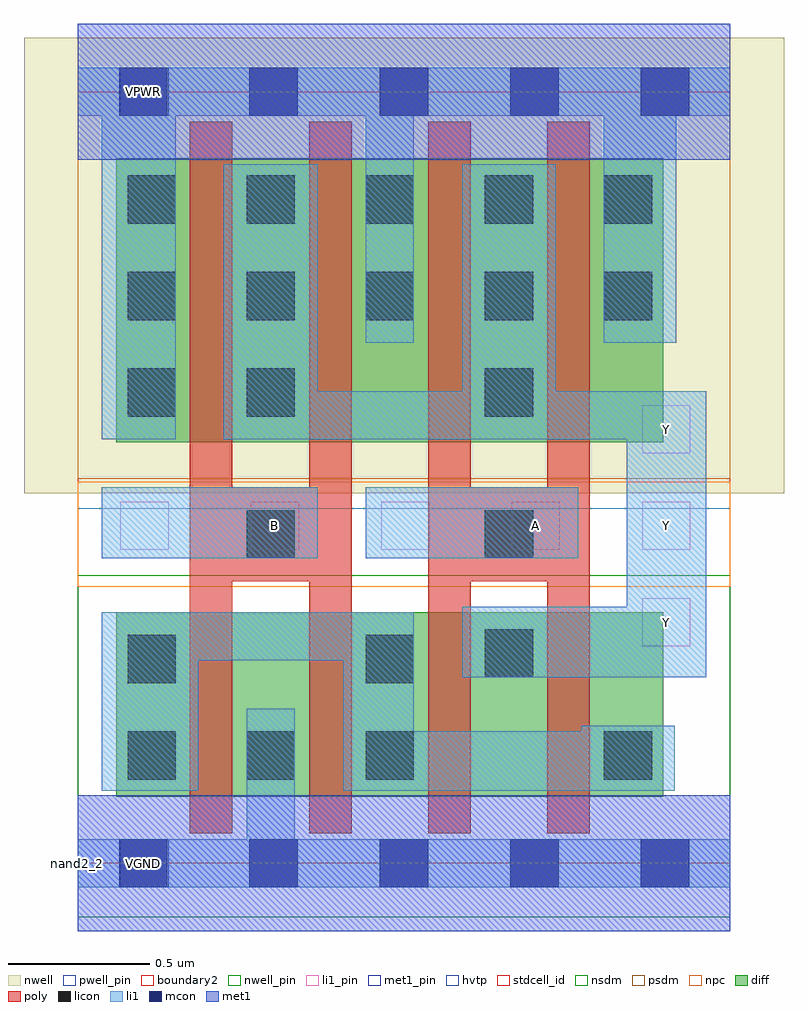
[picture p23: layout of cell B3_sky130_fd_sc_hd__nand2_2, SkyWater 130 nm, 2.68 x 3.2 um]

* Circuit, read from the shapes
.subckt B3_sky130_fd_sc_hd__nand2_2 A B VGND VNB VPB VPWR Y
XM1 VGND B n1 VNB sky130_fd_pr__nfet_01v8 w=0.65 l=0.15 m=2
XM2 Y A n1 VNB sky130_fd_pr__nfet_01v8 w=0.65 l=0.15 m=2
XM3 Y B VPWR VPB sky130_fd_pr__pfet_01v8_hvt w=1 l=0.15 m=2
XM4 Y A VPWR VPB sky130_fd_pr__pfet_01v8_hvt w=1 l=0.15 m=2
.ends

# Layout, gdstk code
import gdstk
lib = gdstk.Library(unit=1e-6, precision=1e-09)
def R(c, l, rs):  # rectangles x0, y0, x1, y1
    for r in rs: c.add(gdstk.rectangle(r[:2], r[2:], *l))
def A(c, l, x, y, w, h, nx, ny, dx, dy):  # array of equal rectangles
    R(c, l, [(x+i*dx, y+j*dy, x+i*dx+w, y+j*dy+h) for i in range(nx) for j in range(ny)])
def P(c, l, *ps):  # polygons
    for p in ps: c.add(gdstk.Polygon(p, *l))
nwell_pin = (64, 16)
nwell = (64, 20)
diff = (65, 20)
poly = (66, 20)
licon = (66, 44)
li1_pin = (67, 16)
li1 = (67, 20)
mcon = (67, 44)
met1_pin = (68, 16)
met1 = (68, 20)
hvtp = (78, 44)
stdcell_id = (81, 4)
nsdm = (93, 44)
psdm = (94, 20)
npc = (95, 20)
pwell_pin = (122, 16)
boundary2 = (236, 0)

b3_sky130_fd_sc_hd__nand = lib.new_cell('B3_sky130_fd_sc_hd__nand2_2')
R(b3_sky130_fd_sc_hd__nand, nwell_pin, [(0.15,2.635,0.32,2.805)])
R(b3_sky130_fd_sc_hd__nand, nwell, [(-0.19,1.305,2.49,2.91)])
R(b3_sky130_fd_sc_hd__nand, diff, [(0.135,0.235,2.065,0.885), (0.135,1.485,2.065,2.485)])
P(b3_sky130_fd_sc_hd__nand, poly, [(0.395,0.105),(0.395,2.615),(0.545,2.615),(0.545,1.325),(0.815,1.325),(0.815,2.615),(0.965,2.615),(0.965,0.105),(0.815,0.105),(0.815,0.995),(0.545,0.995),(0.545,0.105)],
  [(1.235,0.105),(1.235,2.615),(1.385,2.615),(1.385,1.325),(1.655,1.325),(1.655,2.615),(1.805,2.615),(1.805,0.105),(1.655,0.105),(1.655,0.995),(1.385,0.995),(1.385,0.105)])
A(b3_sky130_fd_sc_hd__nand, licon, 0.175, 0.295, 0.17, 0.17, 3, 1, 0.42, 0)
A(b3_sky130_fd_sc_hd__nand, licon, 0.175, 1.915, 0.17, 0.17, 5, 2, 0.42, 0.34)
R(b3_sky130_fd_sc_hd__nand, licon, [(1.855,0.295,2.025,0.465), (0.175,0.635,0.345,0.805), (1.015,0.635,1.185,0.805), (1.435,0.655,1.605,0.825), (0.595,1.075,0.765,1.245), (1.435,1.075,1.605,1.245), (0.175,1.575,0.345,1.745), (0.595,1.575,0.765,1.745), (1.435,1.575,1.605,1.745)])
A(b3_sky130_fd_sc_hd__nand, li1_pin, 0.15, 1.105, 0.17, 0.17, 5, 1, 0.46, 0)
R(b3_sky130_fd_sc_hd__nand, li1_pin, [(1.99,0.765,2.16,0.935), (1.99,1.445,2.16,1.615)])
R(b3_sky130_fd_sc_hd__nand, li1, [(0.085,1.075,0.845,1.325), (1.015,1.075,1.765,1.325)])
P(b3_sky130_fd_sc_hd__nand, li1, [(1.355,0.655),(1.355,0.905),(1.935,0.905),(1.935,1.495),(0.515,1.495),(0.515,2.465),(0.845,2.465),(0.845,1.665),(1.355,1.665),(1.355,2.465),(1.685,2.465),(1.685,1.665),(2.215,1.665),(2.215,0.655)],
  [(0.085,0.255),(0.085,0.885),(1.185,0.885),(1.185,0.465),(1.775,0.465),(1.775,0.485),(2.105,0.485),(2.105,0.255),(0.935,0.255),(0.935,0.715),(0.425,0.715),(0.425,0.255)],
  [(0.085,1.495),(0.085,2.635),(0,2.635),(0,2.805),(2.3,2.805),(2.3,2.635),(2.11,2.635),(2.11,1.835),(1.855,1.835),(1.855,2.635),(1.185,2.635),(1.185,1.835),(1.015,1.835),(1.015,2.635),(0.345,2.635),(0.345,1.495)],
  [(0,-0.085),(0,0.085),(0.595,0.085),(0.595,0.545),(0.765,0.545),(0.765,0.085),(2.3,0.085),(2.3,-0.085)])
A(b3_sky130_fd_sc_hd__nand, mcon, 0.145, -0.085, 0.17, 0.17, 5, 2, 0.46, 2.72)
R(b3_sky130_fd_sc_hd__nand, met1_pin, [(0.15,-0.085,0.32,0.085), (0.15,2.635,0.32,2.805)])
R(b3_sky130_fd_sc_hd__nand, hvtp, [(0,1.25,2.3,2.72)])
R(b3_sky130_fd_sc_hd__nand, stdcell_id, [(0,0,2.3,2.72)])
R(b3_sky130_fd_sc_hd__nand, nsdm, [(0,-0.19,2.3,1.015)])
R(b3_sky130_fd_sc_hd__nand, psdm, [(0,1.355,2.3,2.91)])
R(b3_sky130_fd_sc_hd__nand, npc, [(0,0.975,2.3,1.345)])
R(b3_sky130_fd_sc_hd__nand, pwell_pin, [(0.15,-0.085,0.32,0.085)])
R(b3_sky130_fd_sc_hd__nand, boundary2, [(0,0,2.3,2.72)])
b3_sky130_fd_sc_hd__nand.add(gdstk.FlexPath([(0,0),(2.3,0)], 0.48, ends="flush", simple_path=True, layer=68, datatype=20))  # met1
b3_sky130_fd_sc_hd__nand.add(gdstk.FlexPath([(0,2.72),(2.3,2.72)], 0.48, ends="flush", simple_path=True, layer=68, datatype=20))  # met1
b3_sky130_fd_sc_hd__nand.add(gdstk.Label('VPWR', (0.23,2.72), layer=68, texttype=5))
b3_sky130_fd_sc_hd__nand.add(gdstk.Label('VGND', (0.23,0), layer=68, texttype=5))
b3_sky130_fd_sc_hd__nand.add(gdstk.Label('VPB', (0.23,2.72), layer=64, texttype=5))
b3_sky130_fd_sc_hd__nand.add(gdstk.Label('VNB', (0.23,0), layer=64, texttype=59))
b3_sky130_fd_sc_hd__nand.add(gdstk.Label('nand2_2', (0,0), layer=83, texttype=44))
b3_sky130_fd_sc_hd__nand.add(gdstk.Label('A', (1.615,1.19), layer=67, texttype=5))
b3_sky130_fd_sc_hd__nand.add(gdstk.Label('B', (0.695,1.19), layer=67, texttype=5))
b3_sky130_fd_sc_hd__nand.add(gdstk.Label('Y', (2.075,0.85), layer=67, texttype=5))
b3_sky130_fd_sc_hd__nand.add(gdstk.Label('Y', (2.075,1.19), layer=67, texttype=5))
b3_sky130_fd_sc_hd__nand.add(gdstk.Label('Y', (2.075,1.53), layer=67, texttype=5))

lib.write_gds('B3_sky130_fd_sc_hd__nand2_2.gds')
